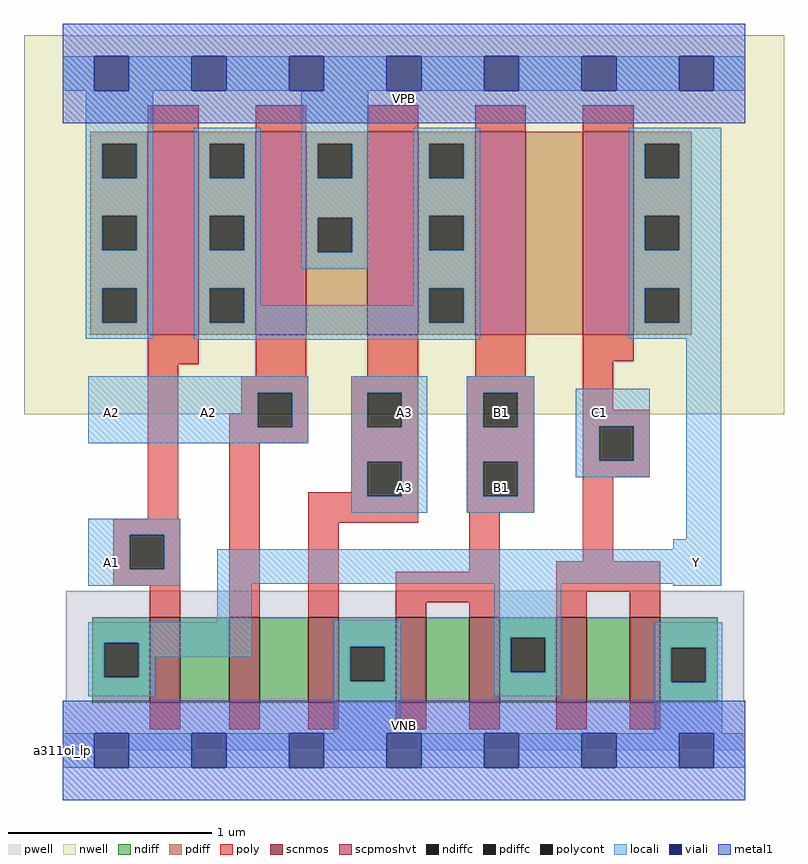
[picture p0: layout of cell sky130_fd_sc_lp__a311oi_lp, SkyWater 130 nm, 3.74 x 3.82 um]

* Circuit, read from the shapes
.subckt sky130_fd_sc_lp__a311oi_lp A1 A2 A3 B1 C1 VGND VNB VPB VPWR Y
XM1 n1 A1 Y VNB sky130_fd_pr__nfet_01v8 w=0.42 l=0.15
XM2 n2 A2 n1 VNB sky130_fd_pr__nfet_01v8 w=0.42 l=0.15
XM3 VGND A3 n2 VNB sky130_fd_pr__nfet_01v8 w=0.42 l=0.15
XM4 n3 B1 VGND VNB sky130_fd_pr__nfet_01v8 w=0.42 l=0.15
XM5 Y B1 n3 VNB sky130_fd_pr__nfet_01v8 w=0.42 l=0.15
XM6 n4 C1 Y VNB sky130_fd_pr__nfet_01v8 w=0.42 l=0.15
XM7 VGND C1 n4 VNB sky130_fd_pr__nfet_01v8 w=0.42 l=0.15
XM8 n5 A1 VPWR VPB sky130_fd_pr__pfet_01v8_hvt w=1 l=0.25
XM9 VPWR A2 n5 VPB sky130_fd_pr__pfet_01v8_hvt w=1 l=0.25
XM10 n5 A3 VPWR VPB sky130_fd_pr__pfet_01v8_hvt w=1 l=0.25
XM11 n6 B1 n5 VPB sky130_fd_pr__pfet_01v8_hvt w=1 l=0.25
XM12 Y C1 n6 VPB sky130_fd_pr__pfet_01v8_hvt w=1 l=0.25
.ends

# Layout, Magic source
magic
tech sky130A
magscale 1 2
<< nwell >>
rect -38 331 710 704
<< pwell >>
rect 3 49 671 157
rect 0 0 672 49
<< scnmos >>
rect 86 47 116 131
rect 164 47 194 131
rect 242 47 272 131
rect 328 47 358 131
rect 400 47 430 131
rect 486 47 516 131
rect 558 47 588 131
<< scpmoshvt >>
rect 84 409 134 609
rect 190 409 240 609
rect 300 409 350 609
rect 406 409 456 609
rect 512 409 562 609
<< ndiff >>
rect 29 106 86 131
rect 29 72 41 106
rect 75 72 86 106
rect 29 47 86 72
rect 116 47 164 131
rect 194 47 242 131
rect 272 102 328 131
rect 272 68 283 102
rect 317 68 328 102
rect 272 47 328 68
rect 358 47 400 131
rect 430 111 486 131
rect 430 77 441 111
rect 475 77 486 111
rect 430 47 486 77
rect 516 47 558 131
rect 588 101 645 131
rect 588 67 599 101
rect 633 67 645 101
rect 588 47 645 67
<< pdiff >>
rect 27 597 84 609
rect 27 563 39 597
rect 73 563 84 597
rect 27 526 84 563
rect 27 492 39 526
rect 73 492 84 526
rect 27 455 84 492
rect 27 421 39 455
rect 73 421 84 455
rect 27 409 84 421
rect 134 597 190 609
rect 134 563 145 597
rect 179 563 190 597
rect 134 526 190 563
rect 134 492 145 526
rect 179 492 190 526
rect 134 455 190 492
rect 134 421 145 455
rect 179 421 190 455
rect 134 409 190 421
rect 240 597 300 609
rect 240 563 251 597
rect 285 563 300 597
rect 240 524 300 563
rect 240 490 251 524
rect 285 490 300 524
rect 240 409 300 490
rect 350 597 406 609
rect 350 563 361 597
rect 395 563 406 597
rect 350 526 406 563
rect 350 492 361 526
rect 395 492 406 526
rect 350 455 406 492
rect 350 421 361 455
rect 395 421 406 455
rect 350 409 406 421
rect 456 409 512 609
rect 562 597 619 609
rect 562 563 573 597
rect 607 563 619 597
rect 562 526 619 563
rect 562 492 573 526
rect 607 492 619 526
rect 562 455 619 492
rect 562 421 573 455
rect 607 421 619 455
rect 562 409 619 421
<< ndiffc >>
rect 41 72 75 106
rect 283 68 317 102
rect 441 77 475 111
rect 599 67 633 101
<< pdiffc >>
rect 39 563 73 597
rect 39 492 73 526
rect 39 421 73 455
rect 145 563 179 597
rect 145 492 179 526
rect 145 421 179 455
rect 251 563 285 597
rect 251 490 285 524
rect 361 563 395 597
rect 361 492 395 526
rect 361 421 395 455
rect 573 563 607 597
rect 573 492 607 526
rect 573 421 607 455
<< poly >>
rect 84 609 134 635
rect 190 609 240 635
rect 300 609 350 635
rect 406 609 456 635
rect 512 609 562 635
rect 84 380 134 409
rect 84 228 114 380
rect 190 368 240 409
rect 300 368 350 409
rect 406 368 456 409
rect 512 383 562 409
rect 176 352 242 368
rect 176 332 192 352
rect 164 318 192 332
rect 226 318 242 352
rect 164 302 242 318
rect 284 352 350 368
rect 284 318 300 352
rect 334 318 350 352
rect 50 212 116 228
rect 50 178 66 212
rect 100 178 116 212
rect 50 162 116 178
rect 86 131 116 162
rect 164 131 194 302
rect 284 284 350 318
rect 284 254 300 284
rect 242 250 300 254
rect 334 250 350 284
rect 242 224 350 250
rect 398 352 464 368
rect 398 318 414 352
rect 448 318 464 352
rect 398 284 464 318
rect 398 250 414 284
rect 448 250 464 284
rect 398 234 464 250
rect 512 335 542 383
rect 512 319 578 335
rect 512 285 528 319
rect 562 285 578 319
rect 512 269 578 285
rect 242 131 272 224
rect 400 176 430 234
rect 512 186 542 269
rect 328 146 430 176
rect 328 131 358 146
rect 400 131 430 146
rect 486 156 588 186
rect 486 131 516 156
rect 558 131 588 156
rect 86 21 116 47
rect 164 21 194 47
rect 242 21 272 47
rect 328 21 358 47
rect 400 21 430 47
rect 486 21 516 47
rect 558 21 588 47
<< polycont >>
rect 192 318 226 352
rect 300 318 334 352
rect 66 178 100 212
rect 300 250 334 284
rect 414 318 448 352
rect 414 250 448 284
rect 528 285 562 319
<< locali >>
rect 0 649 31 683
rect 65 649 127 683
rect 161 649 223 683
rect 257 649 319 683
rect 353 649 415 683
rect 449 649 511 683
rect 545 649 607 683
rect 641 649 672 683
rect 23 597 89 649
rect 23 563 39 597
rect 73 563 89 597
rect 23 526 89 563
rect 23 492 39 526
rect 73 492 89 526
rect 23 455 89 492
rect 23 421 39 455
rect 73 421 89 455
rect 23 405 89 421
rect 129 597 195 613
rect 129 563 145 597
rect 179 563 195 597
rect 129 526 195 563
rect 129 492 145 526
rect 179 492 195 526
rect 129 455 195 492
rect 235 597 301 649
rect 235 563 251 597
rect 285 563 301 597
rect 235 524 301 563
rect 235 490 251 524
rect 285 490 301 524
rect 235 474 301 490
rect 345 597 411 613
rect 345 563 361 597
rect 395 563 411 597
rect 345 526 411 563
rect 345 492 361 526
rect 395 492 411 526
rect 129 421 145 455
rect 179 438 195 455
rect 345 455 411 492
rect 345 438 361 455
rect 179 421 361 438
rect 395 421 411 455
rect 129 404 411 421
rect 557 597 648 613
rect 557 563 573 597
rect 607 563 648 597
rect 557 526 648 563
rect 557 492 573 526
rect 607 492 648 526
rect 557 455 648 492
rect 557 421 573 455
rect 607 421 648 455
rect 557 405 648 421
rect 25 352 242 368
rect 25 318 192 352
rect 226 318 242 352
rect 25 302 242 318
rect 284 352 359 368
rect 284 318 300 352
rect 334 318 359 352
rect 284 284 359 318
rect 284 250 300 284
rect 334 250 359 284
rect 284 234 359 250
rect 398 352 464 368
rect 398 318 414 352
rect 448 318 464 352
rect 398 284 464 318
rect 398 250 414 284
rect 448 250 464 284
rect 505 319 578 356
rect 505 285 528 319
rect 562 285 578 319
rect 505 269 578 285
rect 398 234 464 250
rect 25 212 116 228
rect 25 178 66 212
rect 100 178 116 212
rect 614 208 648 405
rect 601 198 648 208
rect 25 162 116 178
rect 152 164 648 198
rect 152 126 186 164
rect 25 106 186 126
rect 25 72 41 106
rect 75 92 186 106
rect 267 102 333 128
rect 75 72 91 92
rect 25 53 91 72
rect 267 68 283 102
rect 317 68 333 102
rect 267 17 333 68
rect 425 111 491 164
rect 601 162 648 164
rect 425 77 441 111
rect 475 77 491 111
rect 425 53 491 77
rect 583 101 649 126
rect 583 67 599 101
rect 633 67 649 101
rect 583 17 649 67
rect 0 -17 31 17
rect 65 -17 127 17
rect 161 -17 223 17
rect 257 -17 319 17
rect 353 -17 415 17
rect 449 -17 511 17
rect 545 -17 607 17
rect 641 -17 672 17
<< viali >>
rect 31 649 65 683
rect 127 649 161 683
rect 223 649 257 683
rect 319 649 353 683
rect 415 649 449 683
rect 511 649 545 683
rect 607 649 641 683
rect 31 -17 65 17
rect 127 -17 161 17
rect 223 -17 257 17
rect 319 -17 353 17
rect 415 -17 449 17
rect 511 -17 545 17
rect 607 -17 641 17
<< metal1 >>
rect 0 683 672 715
rect 0 649 31 683
rect 65 649 127 683
rect 161 649 223 683
rect 257 649 319 683
rect 353 649 415 683
rect 449 649 511 683
rect 545 649 607 683
rect 641 649 672 683
rect 0 617 672 649
rect 0 17 672 49
rect 0 -17 31 17
rect 65 -17 127 17
rect 161 -17 223 17
rect 257 -17 319 17
rect 353 -17 415 17
rect 449 -17 511 17
rect 545 -17 607 17
rect 641 -17 672 17
rect 0 -49 672 -17
<< labels >>
flabel pwell s 0 0 672 49 0 FreeSans 200 0 0 0 VNB
port 7 nsew ground bidirectional
flabel nwell s 0 617 672 666 0 FreeSans 200 0 0 0 VPB
port 8 nsew power bidirectional
rlabel comment s 0 0 0 0 4 a311oi_lp
flabel metal1 s 0 617 672 666 0 FreeSans 340 0 0 0 VPWR
port 9 nsew power bidirectional
flabel metal1 s 0 0 672 49 0 FreeSans 340 0 0 0 VGND
port 6 nsew ground bidirectional
flabel locali s 511 316 545 350 0 FreeSans 340 0 0 0 C1
port 5 nsew signal input
flabel locali s 415 242 449 276 0 FreeSans 340 0 0 0 B1
port 4 nsew signal input
flabel locali s 415 316 449 350 0 FreeSans 340 0 0 0 B1
port 4 nsew signal input
flabel locali s 319 242 353 276 0 FreeSans 340 0 0 0 A3
port 3 nsew signal input
flabel locali s 319 316 353 350 0 FreeSans 340 0 0 0 A3
port 3 nsew signal input
flabel locali s 31 316 65 350 0 FreeSans 340 0 0 0 A2
port 2 nsew signal input
flabel locali s 127 316 161 350 0 FreeSans 340 0 0 0 A2
port 2 nsew signal input
flabel locali s 31 168 65 202 0 FreeSans 340 0 0 0 A1
port 1 nsew signal input
flabel locali s 607 168 641 202 0 FreeSans 340 0 0 0 Y
port 10 nsew signal output
<< properties >>
string LEFsite unit
string LEFclass CORE
string FIXED_BBOX 0 0 672 666
string GDS_FILE $PDKPATH/libs.ref/sky130_fd_sc_lp/gds/sky130_fd_sc_lp.gds
string LEFsymmetry X Y R90
string GDS_END 3268360
string GDS_START 3261626
<< end >>
